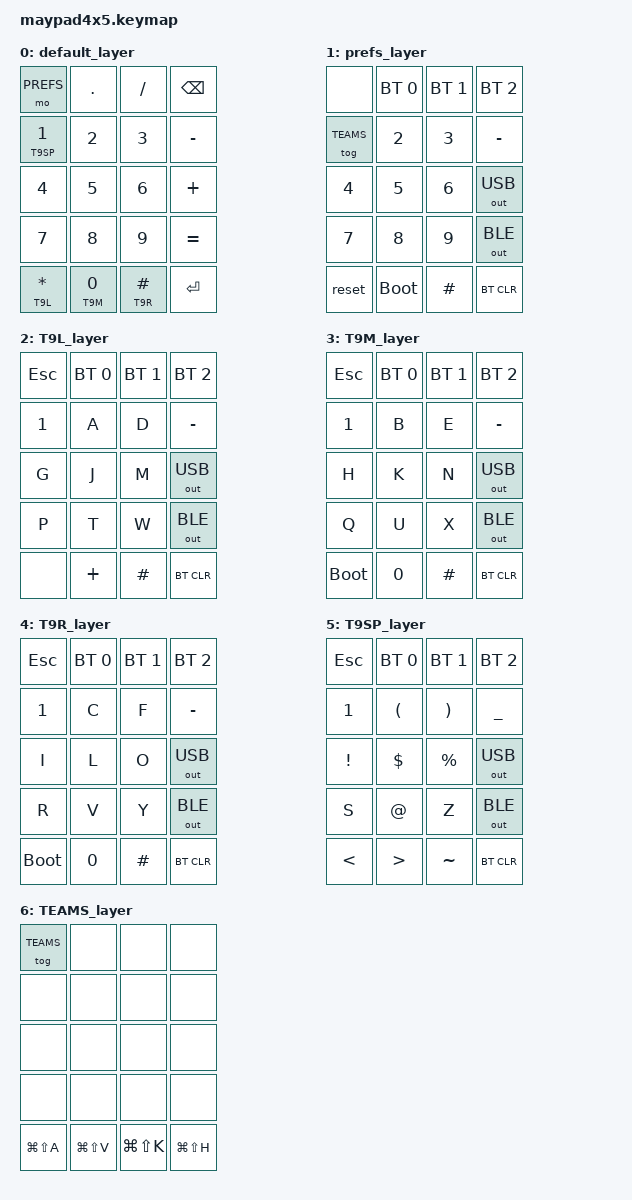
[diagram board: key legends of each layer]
#include <behaviors.dtsi>
#include <dt-bindings/zmk/keys.h>
#include <dt-bindings/zmk/bt.h>
#include <dt-bindings/zmk/outputs.h>

#define DEFAULT 0
#define PREFS  1
#define T9L     2
#define T9M     3
#define T9R     4
#define T9SP    5
#define TEAMS   6

/{
    keymap {
        compatible = "zmk,keymap";

        default_layer {
            bindings = <
                &mo PREFS      &kp DOT         &kp SLASH       &kp BSPC
                &lt T9SP N1     &kp N2          &kp N3          &kp MINUS
                &kp N4          &kp N5          &kp N6          &kp PLUS
                &kp N7          &kp N8          &kp N9          &kp EQUAL
                &lt T9L STAR    &lt T9M N0      &lt T9R HASH    &kp RET
            >;
        };

        prefs_layer {
            bindings = <
                &none           &bt BT_SEL 0        &bt BT_SEL 1    &bt BT_SEL 2
                &tog TEAMS      &kp N2              &kp N3          &kp MINUS
                &kp N4          &kp N5              &kp N6          &out OUT_USB
                &kp N7          &kp N8              &kp N9          &out OUT_BLE
                &reset          &bootloader         &kp HASH        &bt BT_CLR
            >;
        };

        T9L_layer {
            bindings = <
                &kp ESC        &bt BT_SEL 0       &bt BT_SEL 1   &bt BT_SEL 2
                &kp N1         &kp A              &kp D          &kp MINUS
                &kp G          &kp J              &kp M          &out OUT_USB
                &kp P          &kp T              &kp W          &out OUT_BLE
                &none          &kp PLUS           &kp HASH       &bt BT_CLR
            >;
        };

        T9M_layer {
            bindings = <
                &kp ESC        &bt BT_SEL 0       &bt BT_SEL 1   &bt BT_SEL 2
                &kp N1         &kp B              &kp E          &kp MINUS
                &kp H          &kp K              &kp N          &out OUT_USB
                &kp Q          &kp U              &kp X          &out OUT_BLE
                &bootloader    &kp N0             &kp HASH       &bt BT_CLR
            >;
        };

        T9R_layer {
            bindings = <
                &kp ESC        &bt BT_SEL 0       &bt BT_SEL 1   &bt BT_SEL 2
                &kp N1         &kp C              &kp F          &kp MINUS
                &kp I          &kp L              &kp O          &out OUT_USB
                &kp R          &kp V              &kp Y          &out OUT_BLE
                &bootloader    &kp N0             &kp HASH       &bt BT_CLR
            >;
        };

        T9SP_layer {
            bindings = <
                &kp ESC       &bt BT_SEL 0        &bt BT_SEL 1    &bt BT_SEL 2
                &kp N1        &kp LPAR            &kp RPAR        &kp UNDER
                &kp EXCL      &kp DLLR            &kp PRCNT       &out OUT_USB
                &kp S         &kp AT              &kp Z           &out OUT_BLE
                &kp LT        &kp GT              &kp TILDE       &bt BT_CLR
            >;
        };

        TEAMS_layer {
            bindings = <
                &tog TEAMS          &none            &none           &none
                &none               &none            &none           &none
                &none               &none            &none           &none
                &none               &none            &none           &none
                &kp LG(LS(A))       &kp LG(LS(V))    &kp LG(LS(K))   &kp LG(LS(H))
            >;
        };

    };
};
